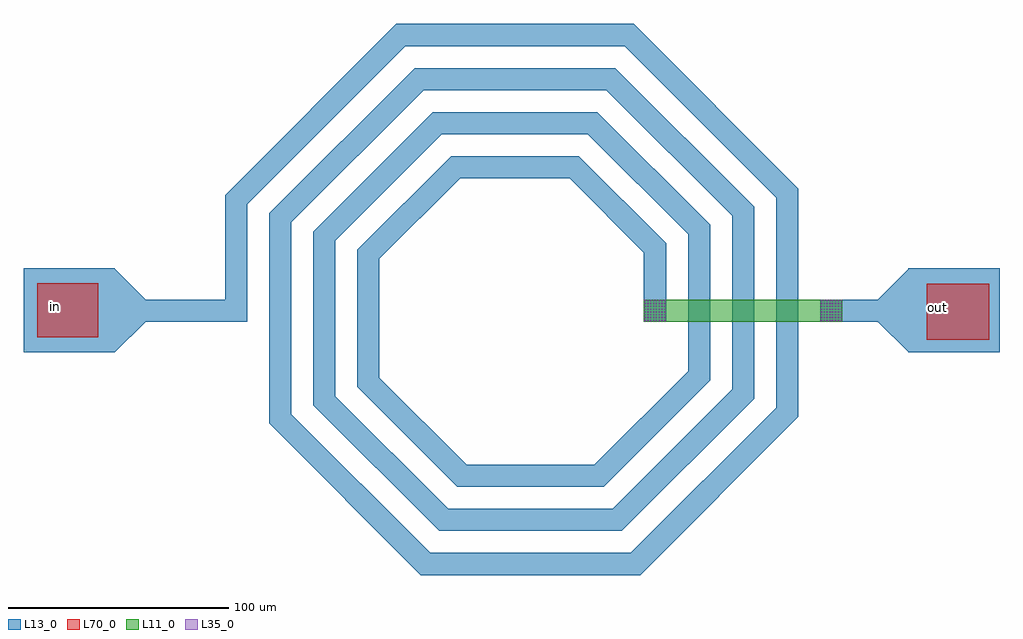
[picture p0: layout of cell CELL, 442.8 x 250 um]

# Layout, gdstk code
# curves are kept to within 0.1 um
import gdstk
lib = gdstk.Library(unit=1e-6, precision=1e-09)
def R(c, l, rs):  # rectangles x0, y0, x1, y1
    for r in rs: c.add(gdstk.rectangle(r[:2], r[2:], *l))
def P(c, l, *ps):  # polygons
    for p in ps: c.add(gdstk.Polygon(p, *l))
L11_0 = (11, 0)
L13_0 = (13, 0)
L35_0 = (35, 0)
L70_0 = (70, 0)

cell = lib.new_cell('CELL')
R(cell, L11_0, [(54.8,-6.2,144.8,3.8)])
R(cell, L13_0, [(-226.7,-20.2,-185.2,17.9)])
P(cell, L13_0, [(-171.2,3.8),(-185.2,17.8),(-185.2,-20.2),(-171.2,-6.2),(-125.2,-6.2),(-125.2,47),(-53.4,118.8),(46,118.8),(114.8,50),(114.8,-45.3),(48.899,-111.2),(-42.2,-111.2),(-105.2,-48.2),(-105.2,38.8),(-45.2,98.8),(37.699,98.8),(94.8,41.7),(94.8,-37.001),(40.599,-91.2),(-34,-91.2),(-85.2,-40.001),(-85.2,30.499),(-36.9,78.8),(29.399,78.8),(74.8,33.399),(74.8,-28.7),(32.3,-71.2),(-25.7,-71.2),(-65.2,-31.7),(-65.2,22.199),(-28.601,58.8),(21.099,58.8),(54.8,25.099),(54.8,-6.2),(64.8,-6.2),(64.8,29.3),(25.3,68.8),(-32.7,68.8),(-75.2,26.3),(-75.2,-35.801),(-29.801,-81.2),(36.5,-81.2),(84.8,-32.901),(84.8,37.6),(33.599,88.8),(-41,88.8),(-95.2,34.6),(-95.2,-44.1),(-38.101,-101.2),(44.8,-101.2),(104.8,-41.2),(104.8,45.8),(41.8,108.8),(-49.301,108.8),(-115.2,42.899),(-115.2,-52.401),(-46.4,-121.2),(53.099,-121.2),(124.8,-49.501),(124.8,54.1),(50.099,128.8),(-57.601,128.8),(-135.2,51.2),(-135.2,3.8)],
  [(216.1,18),(174.6,18),(174.6,17.6),(160.8,3.8),(134.8,3.8),(134.8,-6.2),(160.8,-6.2),(174.8,-20.2),(216.1,-20.1)])
R(cell, L35_0, [(55,-6.001,55.599,-5.401), (56.3,-6.001,56.899,-5.401), (57.599,-6.001,58.199,-5.401), (58.899,-6.001,59.5,-5.401), (60.099,-6.001,60.699,-5.401), (61.399,-6.001,62,-5.401), (62.699,-6.001,63.3,-5.401), (64,-6.001,64.599,-5.401), (134.999,-6.001,135.599,-5.401), (136.3,-6.001,136.9,-5.401), (137.599,-6.001,138.199,-5.401), (138.9,-6.001,139.499,-5.401), (140.099,-6.001,140.699,-5.401), (141.4,-6.001,141.999,-5.401), (142.699,-6.001,143.3,-5.401), (143.999,-6.001,144.599,-5.401), (55,-4.7,55.599,-4.1), (56.3,-4.7,56.899,-4.1), (57.599,-4.7,58.199,-4.1), (58.899,-4.7,59.5,-4.1), (60.099,-4.7,60.699,-4.1), (61.399,-4.7,62,-4.1), (62.699,-4.7,63.3,-4.1), (64,-4.7,64.599,-4.1), (134.999,-4.7,135.599,-4.1), (136.3,-4.7,136.9,-4.1), (137.599,-4.7,138.199,-4.1), (138.9,-4.7,139.499,-4.1), (140.099,-4.7,140.699,-4.1), (141.4,-4.7,141.999,-4.1), (142.699,-4.7,143.3,-4.1), (143.999,-4.7,144.599,-4.1), (55,-3.401,55.599,-2.801), (56.3,-3.401,56.899,-2.801), (57.599,-3.401,58.199,-2.801), (58.899,-3.401,59.5,-2.801), (60.099,-3.401,60.699,-2.801), (61.399,-3.401,62,-2.801), (62.699,-3.401,63.3,-2.801), (64,-3.401,64.599,-2.801), (134.999,-3.401,135.599,-2.801), (136.3,-3.401,136.9,-2.801), (137.599,-3.401,138.199,-2.801), (138.9,-3.401,139.499,-2.801), (140.099,-3.401,140.699,-2.801), (141.4,-3.401,141.999,-2.801), (142.699,-3.401,143.3,-2.801), (143.999,-3.401,144.599,-2.801), (55,-2.2,55.599,-1.6), (56.3,-2.2,56.899,-1.6), (57.599,-2.2,58.199,-1.6), (58.899,-2.2,59.5,-1.6), (60.099,-2.2,60.699,-1.6), (61.399,-2.2,62,-1.6), (62.699,-2.2,63.3,-1.6), (64,-2.2,64.599,-1.6), (134.999,-2.2,135.599,-1.6), (136.3,-2.2,136.9,-1.6), (137.599,-2.2,138.199,-1.6), (138.9,-2.2,139.499,-1.6), (140.099,-2.2,140.699,-1.6), (141.4,-2.2,141.999,-1.6), (142.699,-2.2,143.3,-1.6), (143.999,-2.2,144.599,-1.6), (55,-0.901,55.599,-0.301), (56.3,-0.901,56.899,-0.301), (57.599,-0.901,58.199,-0.301), (58.899,-0.901,59.5,-0.301), (60.099,-0.901,60.699,-0.301), (61.399,-0.901,62,-0.301), (62.699,-0.901,63.3,-0.301), (64,-0.901,64.599,-0.301), (134.999,-0.901,135.599,-0.301), (136.3,-0.901,136.9,-0.301), (137.599,-0.901,138.199,-0.301), (138.9,-0.901,139.499,-0.301), (140.099,-0.901,140.699,-0.301), (141.4,-0.901,141.999,-0.301), (142.699,-0.901,143.3,-0.301), (143.999,-0.901,144.599,-0.301), (55,0.4,55.599,0.999), (56.3,0.4,56.899,0.999), (57.599,0.4,58.199,0.999), (58.899,0.4,59.5,0.999), (60.099,0.4,60.699,0.999), (61.399,0.4,62,0.999), (62.699,0.4,63.3,0.999), (64,0.4,64.599,0.999), (134.999,0.4,135.599,0.999), (136.3,0.4,136.9,0.999), (137.599,0.4,138.199,0.999), (138.9,0.4,139.499,0.999), (140.099,0.4,140.699,0.999), (141.4,0.4,141.999,0.999), (142.699,0.4,143.3,0.999), (143.999,0.4,144.599,0.999), (55,1.699,55.599,2.3), (56.3,1.699,56.899,2.3), (57.599,1.699,58.199,2.3), (58.899,1.699,59.5,2.3), (60.099,1.699,60.699,2.3), (61.399,1.699,62,2.3), (62.699,1.699,63.3,2.3), (64,1.699,64.599,2.3), (134.999,1.699,135.599,2.3), (136.3,1.699,136.9,2.3), (137.599,1.699,138.199,2.3), (138.9,1.699,139.499,2.3), (140.099,1.699,140.699,2.3), (141.4,1.699,141.999,2.3), (142.699,1.699,143.3,2.3), (143.999,1.699,144.599,2.3), (55,2.999,55.599,3.599), (56.3,2.999,56.899,3.599), (57.599,2.999,58.199,3.599), (58.899,2.999,59.5,3.599), (60.099,2.999,60.699,3.599), (61.399,2.999,62,3.599), (62.699,2.999,63.3,3.599), (64,2.999,64.599,3.599), (134.999,2.999,135.599,3.599), (136.3,2.999,136.9,3.599), (137.599,2.999,138.199,3.599), (138.9,2.999,139.499,3.599), (140.099,2.999,140.699,3.599), (141.4,2.999,141.999,3.599), (142.699,2.999,143.3,3.599), (143.999,2.999,144.599,3.599)])
R(cell, L70_0, [(183,-14.45,211.55,11.05), (-220.35,-13.35,-192.8,11.15)])
cell.add(gdstk.Label('in', (-212,0.7), layer=70, texttype=1))
cell.add(gdstk.Label('out', (187.8,0), layer=70, texttype=1))

lib.write_gds('CELL.gds')
